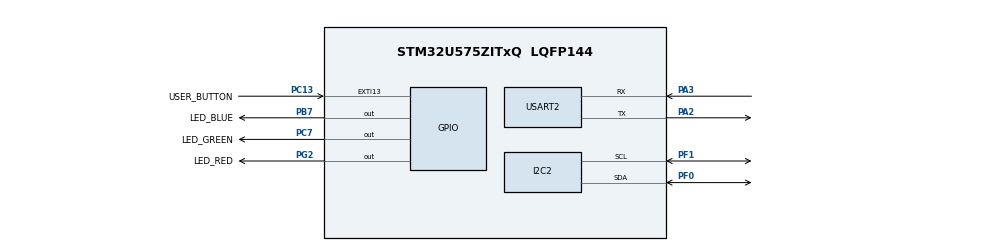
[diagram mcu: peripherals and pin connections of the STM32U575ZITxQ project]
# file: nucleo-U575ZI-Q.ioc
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CORTEX_M33_NS.userName=CORTEX_M33
I2C2.Timing=0x00000E14
Mcu.Family=STM32U5
Mcu.Name=STM32U575ZITxQ
Mcu.Package=LQFP144
NVIC.I2C2_ER_IRQn=true\:0\:0\:false\:false\:true\:true\:true\:true
NVIC.I2C2_EV_IRQn=true\:0\:0\:false\:false\:true\:true\:true\:true
NVIC.PriorityGroup=NVIC_PRIORITYGROUP_4
NVIC.TIM17_IRQn=true\:7\:0\:false\:false\:true\:false\:true\:true
NVIC.TimeBase=TIM17_IRQn
NVIC.TimeBaseIP=TIM17
PA10.Signal=USART1_RX
PA13\ (JTMS/SWDIO).Signal=DEBUG_JTMS-SWDIO
PA14\ (JTCK/SWCLK).Signal=DEBUG_JTCK-SWCLK
PA2.Mode=Asynchronous
PA2.Signal=USART2_TX
PA3.Mode=Asynchronous
PA3.Signal=USART2_RX
PA9.Signal=USART1_TX
PB3\ (JTDO/TRACESWO).Signal=DEBUG_JTDO-SWO
PB7.GPIO_Label=LED_BLUE
PB7.Signal=GPIO_Output
PC13.GPIO_Label=USER_BUTTON
PC13.Signal=GPXTI13
PC14-OSC32_IN\ (PC14).Signal=RCC_OSC32_IN
PC15-OSC32_OUT\ (PC15).Signal=RCC_OSC32_OUT
PC7.GPIO_Label=LED_GREEN
PC7.Signal=GPIO_Output
PF0.Mode=I2C
PF0.Signal=I2C2_SDA
PF1.Mode=I2C
PF1.Signal=I2C2_SCL
PG2.GPIO_Label=LED_RED
PG2.Signal=GPIO_Output
PWR.PowerMode=PWR_SMPS_SUPPLY
ProjectManager.HeapSize=0x200
ProjectManager.StackSize=0x400
ProjectManager.TargetToolchain=CMake
RCC.ADCFreq_Value=16000000
RCC.DACCLockSelectionVirtual=RCC_DAC1CLKSOURCE_LSI
RCC.EPOD_VALUE=4000000
RCC.HSE_VALUE=16000000
RCC.HSI48_VALUE=48000000
RCC.HSI_VALUE=16000000
RCC.LSE_VALUE=32768
RCC.LSIDIV_VALUE=32000
RCC.MSI_VALUE=4000000
RCC.USBFreq_Value=48000000
RCC.VCOOutputFreq_Value=516000000
USART2.VirtualMode-Asynchronous=VM_ASYNC
VP_ICACHE_VS_ENABLE_ICACHE_MEMORY.Mode=Memoryregions
VP_ICACHE_VS_ICACHE.Mode=DirectMappedCache
VP_LPBAMQUEUE_VS_QUEUE.Mode=QUEUEMODE
VP_LPBAM_VS_SIG1.Mode=SmartRun
VP_LPBAM_VS_SIG4.Mode=LPDMA1
VP_MEMORYMAP_VS_MEMORYMAP.Mode=CurAppReg
VP_PWR_VS_DBSignals.Mode=DisableDeadBatterySignals
VP_PWR_VS_LPOM.Mode=PowerOptimisation
VP_PWR_VS_SECSignals.Mode=Security/Privilege
VP_SYS_VS_tim17.Mode=TIM17
board=NUCLEO-U575ZI-Q

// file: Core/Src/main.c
/* USER CODE BEGIN Header */
/**
  ******************************************************************************
  * @file           : main.c
  * @brief          : Main program body
  ******************************************************************************
  * @attention
  *
  * Copyright (c) 2025 STMicroelectronics.
  * All rights reserved.
  *
  * Copyright (c) 2025 Raptors PŁ Poland.
  * All rights reserved.
  *
  * This modified software is proprietary. All rights reserved.
  * Original components licensed under SLA0048 terms in the LICENSE file.
  *
  ******************************************************************************
  */
/* USER CODE END Header */
#include "main.h"
#include "i2c.h"
#include "icache.h"
#include "memorymap.h"
#include "usart.h"
#include "gpio.h"

/* USER CODE BEGIN Includes */
#include "battery_monitor_task.h"
#include "FreeRTOS.h"
#include "task.h"
#include "logging.h"
#include "hal_types.h"  // For unified DEBUG_LOG macro
#include "freertos_tasks.h"
#include "i2c.h"

// Unit test integration - declare as weak symbols so they can be overridden
extern "C" __attribute__((weak)) void startUnitTests(void) {
    // Weak implementation - does nothing if tests not linked
    DEBUG_LOG("Unit tests not linked - skipping");
}

extern "C" __attribute__((weak)) void runTestsTask(void* pvParameters) {
    (void)pvParameters;
    // Weak implementation - just delete task if tests not linked
    DEBUG_LOG("Test task not implemented - deleting task");
    vTaskDelete(NULL);  // Use NULL instead of nullptr for C compatibility
}

/* USER CODE END Includes */

void SystemClock_Config(void);
static void SystemPower_Config(void);

/* USER CODE BEGIN 0 */
class moo {

};
/* USER CODE END 0 */

int main(void)
{

  /* MCU Configuration--------------------------------------------------------*/

  /* Reset of all peripherals, Initializes the Flash interface and the Systick. */
  HAL_Init();

  /* Configure the System Power */
  SystemPower_Config();

  /* Configure the system clock */
  SystemClock_Config();

  /* Initialize all configured peripherals */
  MX_GPIO_Init();
  MX_I2C2_Init();
  MX_ICACHE_Init();
  MX_USART2_UART_Init();
  /* USER CODE BEGIN 2 */
  // Initialize logging system
  initLogging();

  DEBUG_LOG("\n=== STM32U575ZI-Q Platform Startup ===");
  DEBUG_LOG("Platform: NUCLEO-U575ZI-Q");
  DEBUG_LOG("MCU: STM32U575ZI Cortex-M33");
  DEBUG_LOG("FreeRTOS: Enabled");
  DEBUG_LOG("\n--- Creating Application Tasks ---");

  /* Configure battery monitor task for STM32U575ZI-Q platform */
  static BatteryTaskConfig battery_config = {
      .i2c_handle = &hi2c2,                    // Use I2C2 peripheral on this platform
      .device_address = BATTERY_DEFAULT_ADDRESS, // Standard BQ40Z80 address (0x0B)
      .update_interval_ms = 3000,              // Read battery every 3 seconds
      .task_name = "BatteryU575"               // Platform-specific task name
  };

  /* Create battery monitor task for BQ40Z80 management */
  TaskHandle_t batteryTaskHandle = NULL;
  BaseType_t xReturned = xTaskCreate(
      batteryMonitorTask,           // Task function - battery monitoring
      "Battery",                    // Task name
      BATTERY_MONITOR_TASK_STACK_SIZE, // Stack size from configuration
      &battery_config,              // Pass configuration as parameters
      BATTERY_MONITOR_TASK_PRIORITY,// Task priority from configuration
      &batteryTaskHandle            // Task handle
  );

  if(xReturned != pdPASS) {
    DEBUG_LOG("ERROR: Failed to create battery monitor task");
    Error_Handler();
  }
  DEBUG_LOG("Battery monitor task created successfully (I2C2, 3sec interval)");

  /* UART task is currently disabled */
  //TaskHandle_t uartTaskHandle = NULL;
  //xReturned = xTaskCreate(uartTask, "UART", 1024, NULL, tskIDLE_PRIORITY + 1, &uartTaskHandle);

  DEBUG_LOG("\n--- Starting FreeRTOS Scheduler ---");
  DEBUG_LOG("Application ready\n");

  /* Start FreeRTOS scheduler */
  vTaskStartScheduler();
  /* USER CODE END 2 */

  /* Infinite loop */
  while (1)
  {

  }
}

void SystemClock_Config(void)
{
  RCC_OscInitTypeDef RCC_OscInitStruct = {0};
  RCC_ClkInitTypeDef RCC_ClkInitStruct = {0};

  /** Configure the main internal regulator output voltage
  */
  if (HAL_PWREx_ControlVoltageScaling(PWR_REGULATOR_VOLTAGE_SCALE4) != HAL_OK)
  {
    Error_Handler();
  }

  /** Initializes the CPU, AHB and APB buses clocks
  */
  RCC_OscInitStruct.OscillatorType = RCC_OSCILLATORTYPE_MSI;
  RCC_OscInitStruct.MSIState = RCC_MSI_ON;
  RCC_OscInitStruct.MSICalibrationValue = RCC_MSICALIBRATION_DEFAULT;
  RCC_OscInitStruct.MSIClockRange = RCC_MSIRANGE_4;
  RCC_OscInitStruct.PLL.PLLState = RCC_PLL_NONE;
  if (HAL_RCC_OscConfig(&RCC_OscInitStruct) != HAL_OK)
  {
    Error_Handler();
  }

  /** Initializes the CPU, AHB and APB buses clocks
  */
  RCC_ClkInitStruct.ClockType = RCC_CLOCKTYPE_HCLK|RCC_CLOCKTYPE_SYSCLK
                              |RCC_CLOCKTYPE_PCLK1|RCC_CLOCKTYPE_PCLK2
                              |RCC_CLOCKTYPE_PCLK3;
  RCC_ClkInitStruct.SYSCLKSource = RCC_SYSCLKSOURCE_MSI;
  RCC_ClkInitStruct.AHBCLKDivider = RCC_SYSCLK_DIV1;
  RCC_ClkInitStruct.APB1CLKDivider = RCC_HCLK_DIV1;
  RCC_ClkInitStruct.APB2CLKDivider = RCC_HCLK_DIV1;
  RCC_ClkInitStruct.APB3CLKDivider = RCC_HCLK_DIV1;

  if (HAL_RCC_ClockConfig(&RCC_ClkInitStruct, FLASH_LATENCY_0) != HAL_OK)
  {
    Error_Handler();
  }
}

/**
  * @brief Power Configuration
  * @retval None
  */
static void SystemPower_Config(void)
{
  HAL_PWREx_EnableVddIO2();

  /*
   * Disable the internal Pull-Up in Dead Battery pins of UCPD peripheral
   */
  HAL_PWREx_DisableUCPDDeadBattery();

  /*
   * Switch to SMPS regulator instead of LDO
   */
  if (HAL_PWREx_ConfigSupply(PWR_SMPS_SUPPLY) != HAL_OK)
  {
    Error_Handler();
  }
}

/* USER CODE BEGIN 4 */

// HAL_Delay_MS implementation for app library
extern "C" void HAL_Delay_MS(uint32_t ms)
{
    vTaskDelay(pdMS_TO_TICKS(ms));
}

/* USER CODE END 4 */

void HAL_TIM_PeriodElapsedCallback(TIM_HandleTypeDef *htim)
{
  if (htim->Instance == TIM17)
  {
    HAL_IncTick();
  }
}

void Error_Handler(void)
{
  __disable_irq();
  while (1)
  {
  }
}
